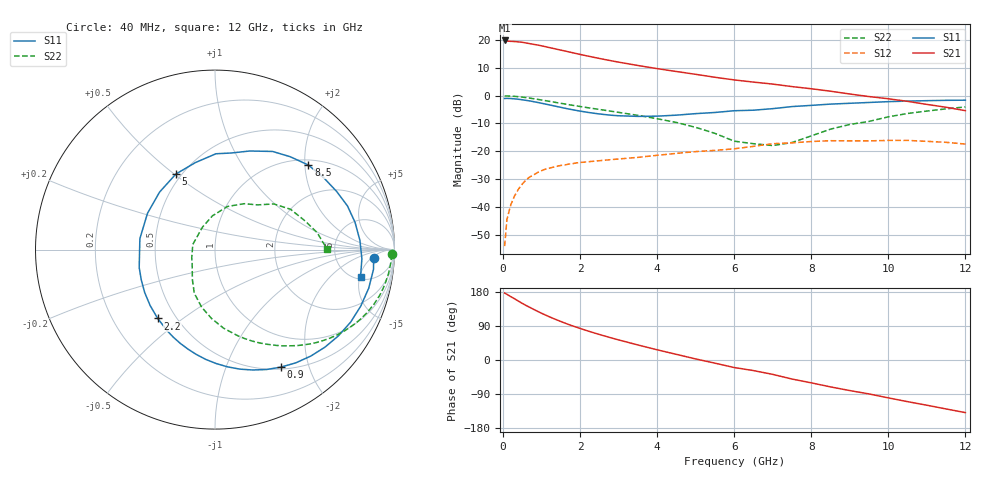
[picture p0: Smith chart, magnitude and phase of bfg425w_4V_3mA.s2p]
! Filename: 43bfg425.001
! BFG425W Field C1
! V1=8.107E-001V,V2=4.000E+000V, I1=2.873E-005A, I2=3.000E-003A
# GHz  S  MA  R 50
!  S11  S21  S12  S22
!Freq(GHz)  Mag  Ang  Mag  Ang  Mag  Ang  Mag  Ang
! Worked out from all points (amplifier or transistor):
!   44 points, 40 MHz to 12 GHz, reference 50 ohm
!   highest |S21| = 19.7 dB at 40 MHz (marker M1)
!   |S21| within 3 dB of that: start of sweep to 1.35 GHz
!   unconditionally stable (mu >= 1): 2.855 GHz to end of sweep
!   at 700 MHz: K = 0.25, MSG = 23.8 dB, |S12| = -29.1 dB
!   at 2.4 GHz: K = 0.84, MSG = 18.5 dB, |S12| = -23.5 dB
!   at 12 GHz: K = 1.64, MAG = 1.3 dB, |S12| = -17.4 dB
!   S11 on the Smith chart (normalised r, x): 40 MHz: 14, -6; 900 MHz: 0.53, -1.58; 2.2 GHz: 0.40, -0.41; 5 GHz: 0.47, +0.51; 8.5 GHz: 1.12, +2.09; 12 GHz: 5.39, -5.16
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0.04  0.885 -3.1  9.697 176.6  0.002 54.7  0.984 -1.6
0.1  0.89 -7.1  9.446 173.3  0.006 77.5  0.983 -3.9
0.2  0.883 -14.1  9.355 167.2  0.011 76.3  0.976 -7.9
0.3  0.871 -21.2  9.261 161.6  0.016 73.6  0.966 -11.7
0.5  0.839 -34.9  8.988 149.3  0.026 66.3  0.936 -19.1
0.7  0.798 -48.0  8.479 138.6  0.035 59.0  0.897 -25.8
0.9  0.751 -60.6  8.02 128.3  0.042 52.6  0.853 -32.0
1.2  0.68 -78.3  7.237 114.1  0.05 44.1  0.787 -40.1
1.6  0.593 -100.2  6.289 97.6  0.057 35.4  0.706 -49.2
1.9  0.541 -115.3  5.648 86.7  0.062 30.3  0.653 -55.2
2.2  0.499 -129.8  5.093 76.7  0.065 26.4  0.605 -60.8
2.6  0.459 -148.6  4.471 64.4  0.069 22.2  0.55 -67.9
3  0.434 -166.7  3.964 53.0  0.073 18.8  0.499 -74.9
3.5  0.423 171.7  3.452 39.7  0.078 15.1  0.441 -83.7
4.5  0.445 134.0  2.692 14.9  0.092 6.8  0.329 -103.1
5  0.474 117.4  2.398 2.8  0.099 0.8  0.269 -115.4
6  0.534 89.4  1.903 -19.9  0.111 -11.0  0.152 -146.8
6.5  0.546 80.3  1.74 -27.9  0.123 -10.4  0.137 -161.1
7.5  0.634 59.6  1.446 -50.3  0.142 -28.7  0.144 118.7
8.5  0.702 42.1  1.195 -71.0  0.155 -45.2  0.25 73.9
10.5  0.795 11.0  0.786 -109.9  0.157 -80.6  0.477 28.1
12  0.825 -10.7  0.535 -138.8  0.135 -112.2  0.625 0.1
